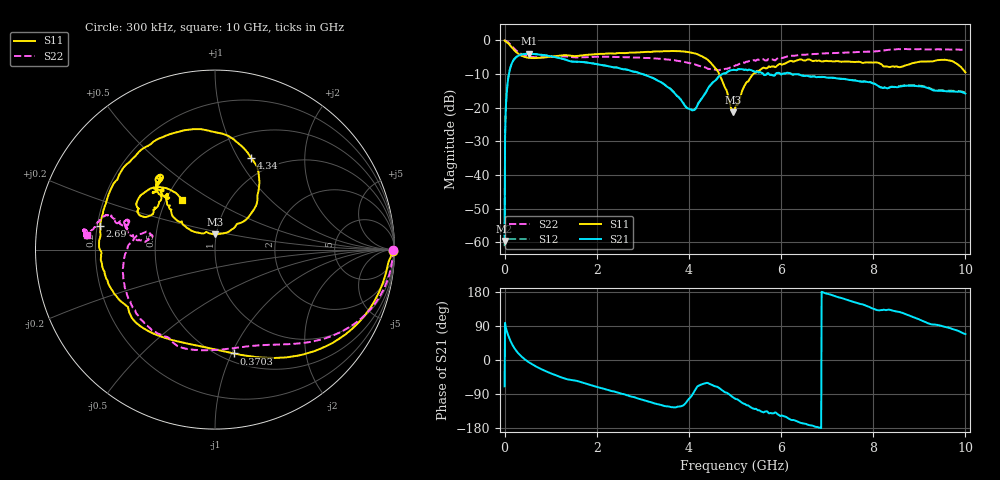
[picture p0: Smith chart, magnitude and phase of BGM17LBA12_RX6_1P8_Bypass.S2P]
!Agilent Technologies,E5071C,MY46316587,B.13.01
!Date: Fri Dec 08 11:13:57 2017
!Data & Calibration Information:
!Freq	S11:SOLT2(ON)	S21:SOLT2(ON)	S12:SOLT2(ON)	S22:SOLT2(ON)
!PortZ  Port1:50+j0  Port2:50+j0
!Above PortZ is port z conversion or system Z0 setting when saving the data.
!When reading, reference impedance value at option line is always used.
# Hz S dB R 50
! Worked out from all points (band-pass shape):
!   1001 points, 300 kHz to 10 GHz, reference 50 ohm
!   highest |S21| = -4.02 dB at 530.3 MHz (marker M1); lowest = -59.6 dB at 300 kHz (marker M2)
!   |S21| within 3 dB of the highest: 152.7 MHz to 1.967 GHz (1.814 GHz wide, 171 % of centre)
!   lowest |S11| = -21.4 dB at 4.96 GHz (marker M3), VSWR 1.19, Z = 49.3 + j8.46 ohm
!   |S11| at or under -10 dB: 4.656 GHz to 5.398 GHz (742.3 MHz wide, 14.8 % of centre)
!   |S22| runs from -9.0 to -0.1 dB; largest |S21 - S12| = 0.0057
!   S11 on the Smith chart (normalised r, x): 300 kHz: open; 370.3 MHz: 0.58, -1.02; 2.69 GHz: 0.21, +0.10; 4.34 GHz: 0.77, +1.14; 10 GHz: 0.60, +0.37
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300000  -0.05 -0.4  -59.59 -69.7  -61.14 -133.4  -0.07 -0.1
6.02982e7  -0.70 -21.0  -13.35 71.5  -13.25 71.5  -0.41 -16.0
9.02973e7  -1.09 -30.2  -10.27 61.4  -10.22 61.2  -0.77 -23.0
1.902943e8  -2.67 -54.1  -6.00 35.7  -5.97 35.5  -2.25 -40.6
3.702889e8  -4.61 -79.7  -4.24 8.8  -4.23 8.5  -4.13 -58.5
5.302841e8  -5.22 -94.1  -4.02 -6.3  -4.00 -6.4  -4.83 -69.7
1.030269e9  -4.80 -124.3  -4.82 -36.5  -4.80 -36.7  -4.96 -96.8
1.67025e9  -4.50 -150.5  -6.45 -58.8  -6.40 -58.8  -5.06 -119.8
2.690219e9  -3.71 168.6  -8.85 -94.3  -8.82 -94.0  -5.03 -145.0
3.3402e9  -3.32 134.6  -12.12 -117.0  -12.09 -116.6  -5.48 -163.8
4.050178e9  -3.68 90.0  -20.64 -96.0  -20.52 -95.8  -6.85 172.0
4.34017e9  -5.19 68.6  -16.07 -61.9  -15.99 -61.9  -7.99 165.7
4.640161e9  -9.53 46.9  -10.87 -72.5  -10.85 -72.4  -8.96 168.7
4.960151e9  -21.39 90.0  -8.80 -98.6  -8.77 -98.5  -7.75 172.8
5.00015e9  -20.16 110.7  -8.81 -101.8  -8.79 -101.6  -7.55 173.0
5.210144e9  -13.44 141.9  -8.76 -116.0  -8.75 -116.0  -6.69 170.4
5.450136e9  -9.63 137.4  -9.41 -128.7  -9.38 -128.8  -6.08 165.5
6.6701e9  -6.10 125.8  -10.79 -172.8  -10.75 -172.7  -4.13 162.2
8.34005e9  -7.93 142.2  -14.13 132.8  -14.05 132.9  -2.80 171.5
9.420017e9  -5.89 149.4  -14.98 92.1  -14.79 91.5  -2.68 173.3
9.750008e9  -6.42 133.2  -15.26 80.7  -15.05 80.3  -2.78 173.9
1e10  -9.54 124.0  -15.84 68.4  -15.59 69.0  -2.87 173.5
